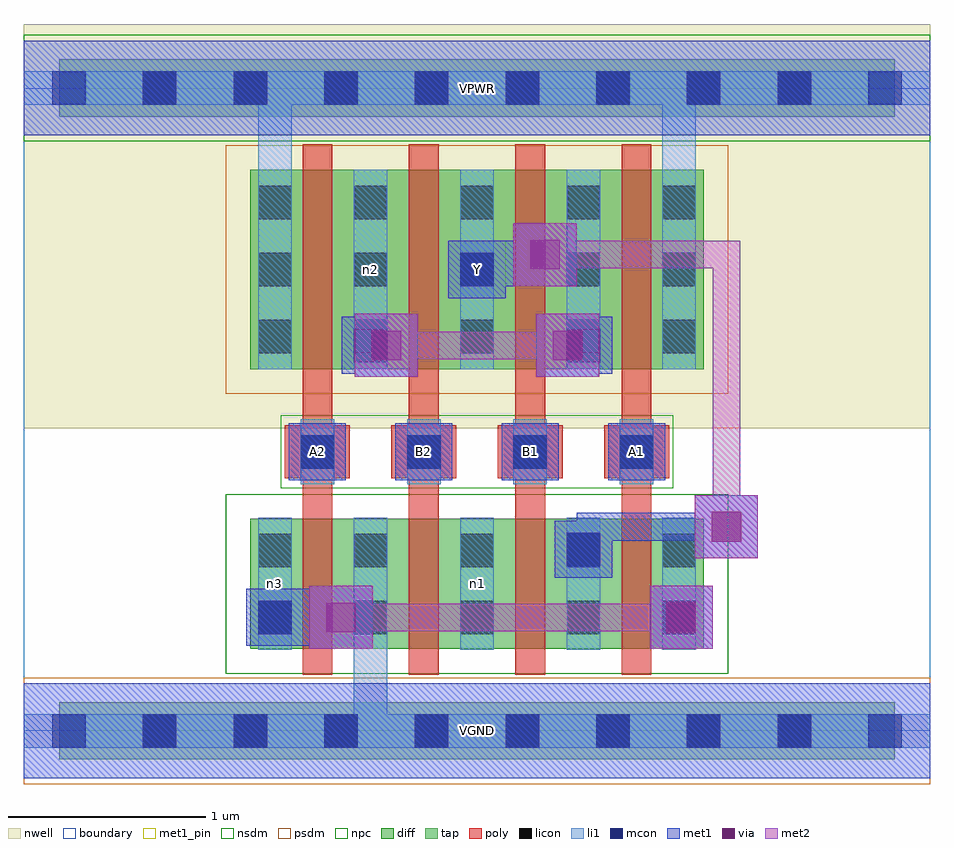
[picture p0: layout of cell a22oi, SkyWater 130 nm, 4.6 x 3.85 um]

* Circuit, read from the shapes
.subckt a22oi A1 A2 B1 B2 VGND VPWR Y n1 n2 n3
XM1 VGND A2 n3 VGND sky130_fd_pr__nfet_01v8 w=0.66 l=0.15
XM2 n1 B2 VGND VGND sky130_fd_pr__nfet_01v8 w=0.66 l=0.15
XM3 Y B1 n1 VGND sky130_fd_pr__nfet_01v8 w=0.66 l=0.15
XM4 n3 A1 Y VGND sky130_fd_pr__nfet_01v8 w=0.66 l=0.15
XM5 n2 A2 VPWR VPWR sky130_fd_pr__pfet_01v8 w=1.01 l=0.15
XM6 Y B2 n2 VPWR sky130_fd_pr__pfet_01v8 w=1.01 l=0.15
XM7 n2 B1 Y VPWR sky130_fd_pr__pfet_01v8 w=1.01 l=0.15
XM8 VPWR A1 n2 VPWR sky130_fd_pr__pfet_01v8 w=1.01 l=0.15
.ends

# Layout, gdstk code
import gdstk
lib = gdstk.Library(unit=1e-6, precision=1e-09)
def R(c, l, rs):  # rectangles x0, y0, x1, y1
    for r in rs: c.add(gdstk.rectangle(r[:2], r[2:], *l))
def A(c, l, x, y, w, h, nx, ny, dx, dy):  # array of equal rectangles
    R(c, l, [(x+i*dx, y+j*dy, x+i*dx+w, y+j*dy+h) for i in range(nx) for j in range(ny)])
nwell = (64, 20)
diff = (65, 20)
tap = (65, 44)
poly = (66, 20)
licon = (66, 44)
li1 = (67, 20)
mcon = (67, 44)
met1_pin = (68, 16)
met1 = (68, 20)
via = (68, 44)
met2 = (69, 20)
nsdm = (93, 44)
psdm = (94, 20)
npc = (95, 20)
boundary = (235, 4)

a22oi = lib.new_cell('a22oi')
R(a22oi, nwell, [(0,1.535,4.6,3.585)])
R(a22oi, diff, [(1.15,0.415,3.45,1.075), (1.15,1.835,3.45,2.845)])
R(a22oi, tap, [(0.18,-0.145,4.42,0.145), (0.18,3.115,4.42,3.405)])
A(a22oi, poly, 1.415, 0.285, 0.15, 2.69, 4, 1, 0.54, 0)
A(a22oi, poly, 1.325, 1.28, 0.33, 0.27, 4, 1, 0.54, 0)
A(a22oi, licon, 0.605, -0.085, 0.17, 0.17, 8, 2, 0.46, 3.26)
A(a22oi, licon, 1.675, 0.49, 0.17, 0.17, 3, 2, 0.54, 0.34)
A(a22oi, licon, 1.405, 1.33, 0.17, 0.17, 4, 1, 0.54, 0)
A(a22oi, licon, 1.19, 1.915, 0.17, 0.17, 1, 3, 0, 0.34)
A(a22oi, licon, 1.675, 1.915, 0.17, 0.17, 3, 3, 0.54, 0.34)
A(a22oi, licon, 3.24, 1.915, 0.17, 0.17, 1, 3, 0, 0.34)
R(a22oi, licon, [(1.19,0.49,1.36,0.66), (3.24,0.49,3.41,0.66), (1.19,0.83,1.36,1), (3.24,0.83,3.41,1)])
A(a22oi, li1, 1.675, 0.41, 0.17, 0.67, 3, 1, 0.54, 0)
A(a22oi, li1, 1.405, 1.25, 0.17, 0.33, 4, 1, 0.54, 0)
A(a22oi, li1, 1.675, 1.835, 0.17, 1.01, 3, 1, 0.54, 0)
R(a22oi, li1, [(0,-0.085,4.6,0.085), (1.675,-0.085,1.845,1.08), (1.19,0.41,1.36,1.08), (3.24,0.41,3.41,1.08), (1.19,1.835,1.36,2.845), (1.19,1.835,1.36,3.345), (3.24,1.835,3.41,2.845), (3.24,1.835,3.41,3.345), (0,3.175,4.6,3.345)])
A(a22oi, mcon, 0.145, -0.085, 0.17, 0.17, 10, 2, 0.46, 3.26)
A(a22oi, mcon, 1.405, 1.33, 0.17, 0.17, 4, 1, 0.54, 0)
R(a22oi, mcon, [(1.19,0.49,1.36,0.66), (3.24,0.49,3.41,0.66), (2.755,0.835,2.925,1.005), (1.675,1.87,1.845,2.04), (2.755,1.87,2.925,2.04), (2.215,2.255,2.385,2.425)])
A(a22oi, met1_pin, 1.345, 1.27, 0.29, 0.29, 4, 1, 0.54, 0)
R(a22oi, met1_pin, [(0,-0.24,4.6,0.24), (2.155,2.195,2.445,2.485), (0,3.02,4.6,3.5)])
A(a22oi, met1, 1.345, 1.27, 0.29, 0.29, 4, 1, 0.54, 0)
R(a22oi, met1, [(0,-0.24,4.6,0.24), (1.45,0.415,1.77,0.735), (3.175,0.415,3.495,0.735), (1.13,0.43,1.42,0.72), (1.42,0.43,1.45,0.72), (3.18,0.43,3.47,0.72), (1.205,0.505,1.45,0.645), (1.31,0.505,1.68,0.645), (3.255,0.505,3.405,0.645), (2.695,0.775,2.985,1.065), (2.77,0.85,2.945,0.99), (2.805,0.85,2.945,1.105), (3.405,0.875,3.725,1.195), (2.805,0.965,3.635,1.105), (1.68,1.795,2,2.115), (2.6,1.795,2.92,2.115), (1.615,1.81,1.905,2.1), (2.695,1.81,2.985,2.1), (1.69,1.885,1.91,2.025), (2.69,1.885,2.91,2.025), (2.155,2.195,2.445,2.485), (2.445,2.255,2.485,2.485), (2.485,2.255,2.805,2.575), (2.23,2.345,2.37,2.485), (2.23,2.345,2.715,2.485), (0,3.02,4.6,3.5)])
R(a22oi, via, [(1.535,0.5,1.685,0.65), (3.26,0.5,3.41,0.65), (3.49,0.96,3.64,1.11), (1.765,1.88,1.915,2.03), (2.685,1.88,2.835,2.03), (2.57,2.34,2.72,2.49)])
R(a22oi, met2, [(1.45,0.415,1.77,0.735), (3.175,0.415,3.495,0.735), (1.54,0.505,3.405,0.645), (3.405,0.875,3.725,1.195), (3.495,0.965,3.635,2.485), (1.68,1.795,2,2.115), (2.6,1.795,2.92,2.115), (1.77,1.885,2.83,2.025), (2.485,2.255,2.805,2.575), (2.575,2.345,3.635,2.485)])
R(a22oi, nsdm, [(1.025,0.29,3.575,1.2), (0,2.99,4.6,3.53)])
R(a22oi, psdm, [(0,-0.27,4.6,0.27), (1.025,1.71,3.575,2.97)])
R(a22oi, npc, [(1.305,1.23,3.295,1.6)])
R(a22oi, boundary, [(0,0,4.6,3.26)])
a22oi.add(gdstk.Label('n3', (1.275,0.745), layer=67, texttype=5))
a22oi.add(gdstk.Label('n1', (2.3,0.745), layer=67, texttype=5))
a22oi.add(gdstk.Label('n2', (1.76,2.34), layer=67, texttype=5))
a22oi.add(gdstk.Label('A2', (1.49,1.415), layer=68, texttype=5))
a22oi.add(gdstk.Label('B2', (2.03,1.415), layer=68, texttype=5))
a22oi.add(gdstk.Label('B1', (2.57,1.415), layer=68, texttype=5))
a22oi.add(gdstk.Label('A1', (3.11,1.415), layer=68, texttype=5))
a22oi.add(gdstk.Label('Y', (2.3,2.34), layer=68, texttype=5))
a22oi.add(gdstk.Label('VPWR', (2.3,3.26), layer=68, texttype=5))
a22oi.add(gdstk.Label('VGND', (2.3,0), layer=68, texttype=5))
a22oi.add(gdstk.Label('A2', (1.49,1.415), layer=68, texttype=16))
a22oi.add(gdstk.Label('B2', (2.03,1.415), layer=68, texttype=16))
a22oi.add(gdstk.Label('B1', (2.57,1.415), layer=68, texttype=16))
a22oi.add(gdstk.Label('A1', (3.11,1.415), layer=68, texttype=16))
a22oi.add(gdstk.Label('Y', (2.3,2.34), layer=68, texttype=16))
a22oi.add(gdstk.Label('VPWR', (2.3,3.26), layer=68, texttype=16))
a22oi.add(gdstk.Label('VGND', (2.3,0), layer=68, texttype=16))

lib.write_gds('a22oi.gds')
